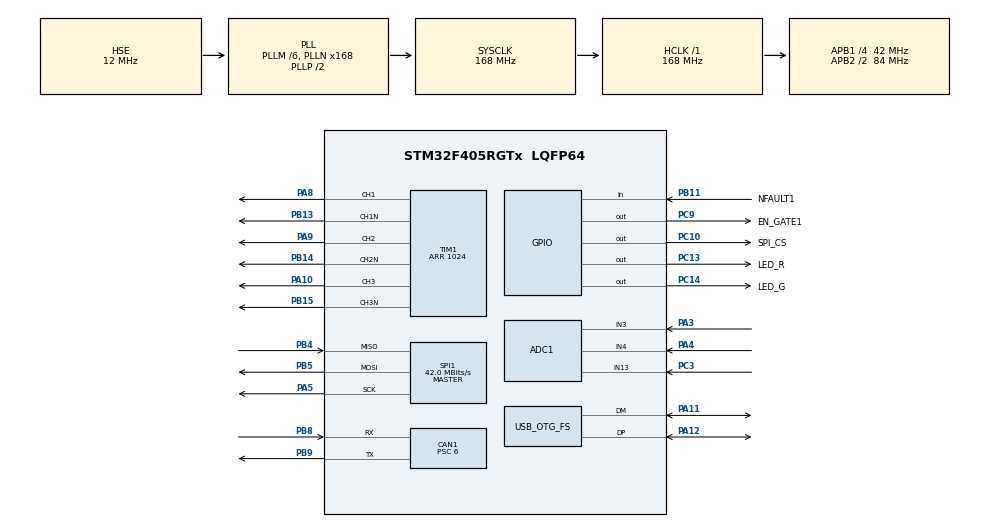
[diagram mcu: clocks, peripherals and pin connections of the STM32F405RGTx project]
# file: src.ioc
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ADC1.Channel-0\#ChannelRegularConversion=ADC_CHANNEL_13
ADC1.Channel-1\#ChannelInjectedConversion=ADC_CHANNEL_13
ADC1.Channel-2\#ChannelInjectedConversion=ADC_CHANNEL_3
ADC1.Channel-3\#ChannelInjectedConversion=ADC_CHANNEL_4
ADC1.ExternalTrigInjecConv=ADC_EXTERNALTRIGINJECCONV_T1_CC4
ADC1.ExternalTrigInjecConvEdge=ADC_EXTERNALTRIGINJECCONVEDGE_FALLING
ADC1.InjNumberOfConversion=3
ADC1.InjectedOffset-1\#ChannelInjectedConversion=0
ADC1.InjectedOffset-2\#ChannelInjectedConversion=0
ADC1.InjectedOffset-3\#ChannelInjectedConversion=0
ADC1.InjectedRank-1\#ChannelInjectedConversion=1
ADC1.InjectedRank-2\#ChannelInjectedConversion=2
ADC1.InjectedRank-3\#ChannelInjectedConversion=3
ADC1.NbrOfConversionFlag=1
ADC1.Rank-0\#ChannelRegularConversion=1
ADC1.SamplingTime-0\#ChannelRegularConversion=ADC_SAMPLETIME_3CYCLES
ADC1.SamplingTime-1\#ChannelInjectedConversion=ADC_SAMPLETIME_15CYCLES
ADC1.SamplingTime-2\#ChannelInjectedConversion=ADC_SAMPLETIME_15CYCLES
ADC1.SamplingTime-3\#ChannelInjectedConversion=ADC_SAMPLETIME_3CYCLES
ADC1.ScanConvMode=ENABLE
ADC1.master=1
CAN1.BS1=CAN_BS1_8TQ
CAN1.BS2=CAN_BS2_5TQ
CAN1.CalculateBaudRate=500000
CAN1.CalculateTimeBit=2000
CAN1.CalculateTimeQuantum=142.85714285714286
CAN1.NART=ENABLE
CAN1.Prescaler=6
CAN1.SJW=CAN_SJW_2TQ
Dma.Request0=SPI1_TX
Dma.Request1=SPI1_RX
Dma.SPI1_RX.1.Direction=DMA_PERIPH_TO_MEMORY
Dma.SPI1_RX.1.FIFOMode=DMA_FIFOMODE_DISABLE
Dma.SPI1_RX.1.Instance=DMA2_Stream0
Dma.SPI1_RX.1.MemDataAlignment=DMA_MDATAALIGN_BYTE
Dma.SPI1_RX.1.MemInc=DMA_MINC_ENABLE
Dma.SPI1_RX.1.Mode=DMA_NORMAL
Dma.SPI1_RX.1.PeriphDataAlignment=DMA_PDATAALIGN_BYTE
Dma.SPI1_RX.1.PeriphInc=DMA_PINC_DISABLE
Dma.SPI1_RX.1.Priority=DMA_PRIORITY_HIGH
Dma.SPI1_TX.0.Direction=DMA_MEMORY_TO_PERIPH
Dma.SPI1_TX.0.FIFOMode=DMA_FIFOMODE_DISABLE
Dma.SPI1_TX.0.Instance=DMA2_Stream3
Dma.SPI1_TX.0.MemDataAlignment=DMA_MDATAALIGN_BYTE
Dma.SPI1_TX.0.MemInc=DMA_MINC_ENABLE
Dma.SPI1_TX.0.Mode=DMA_NORMAL
Dma.SPI1_TX.0.PeriphDataAlignment=DMA_PDATAALIGN_BYTE
Dma.SPI1_TX.0.PeriphInc=DMA_PINC_DISABLE
Dma.SPI1_TX.0.Priority=DMA_PRIORITY_HIGH
Mcu.Family=STM32F4
Mcu.Name=STM32F405RGTx
Mcu.Package=LQFP64
NVIC.ADC_IRQn=true\:0\:0\:false\:false\:true\:true\:true\:true
NVIC.CAN1_RX0_IRQn=true\:0\:0\:false\:false\:true\:true\:true\:true
NVIC.CAN1_RX1_IRQn=true\:0\:0\:false\:false\:true\:true\:true\:true
NVIC.DMA2_Stream0_IRQn=true\:0\:0\:false\:false\:true\:false\:true\:true
NVIC.DMA2_Stream3_IRQn=true\:0\:0\:false\:false\:true\:false\:true\:true
NVIC.OTG_FS_IRQn=true\:0\:0\:false\:false\:true\:false\:true\:true
NVIC.PriorityGroup=NVIC_PRIORITYGROUP_4
NVIC.SPI1_IRQn=true\:0\:0\:false\:false\:true\:true\:true\:true
PA10.Signal=S_TIM1_CH3
PA11.Mode=Device_Only
PA11.Signal=USB_OTG_FS_DM
PA12.Mode=Device_Only
PA12.Signal=USB_OTG_FS_DP
PA13.Mode=Serial_Wire
PA13.Signal=SYS_JTMS-SWDIO
PA14.Mode=Serial_Wire
PA14.Signal=SYS_JTCK-SWCLK
PA3.Signal=ADCx_IN3
PA4.Signal=ADCx_IN4
PA5.Mode=Full_Duplex_Master
PA5.Signal=SPI1_SCK
PA8.Signal=S_TIM1_CH1
PA9.Signal=S_TIM1_CH2
PB11.GPIO_Label=NFAULT1
PB11.Signal=GPIO_Input
PB13.Mode=PWM Generation1 CH1 CH1N
PB13.Signal=TIM1_CH1N
PB14.Mode=PWM Generation2 CH2 CH2N
PB14.Signal=TIM1_CH2N
PB15.Mode=PWM Generation3 CH3 CH3N
PB15.Signal=TIM1_CH3N
PB4.Mode=Full_Duplex_Master
PB4.Signal=SPI1_MISO
PB5.Mode=Full_Duplex_Master
PB5.Signal=SPI1_MOSI
PB8.GPIO_PuPd=GPIO_PULLUP
PB8.Mode=CAN_Activate
PB8.Signal=CAN1_RX
PB9.Mode=CAN_Activate
PB9.Signal=CAN1_TX
PC10.GPIO_Label=SPI_CS
PC10.Signal=GPIO_Output
PC13-ANTI_TAMP.GPIO_Label=LED_R
PC13-ANTI_TAMP.Signal=GPIO_Output
PC14-OSC32_IN.GPIO_Label=LED_G
PC14-OSC32_IN.Signal=GPIO_Output
PC3.Signal=ADCx_IN13
PC9.GPIO_Label=EN_GATE1
PC9.Signal=GPIO_Output
PH0-OSC_IN.Mode=HSE-External-Oscillator
PH0-OSC_IN.Signal=RCC_OSC_IN
PH1-OSC_OUT.Mode=HSE-External-Oscillator
PH1-OSC_OUT.Signal=RCC_OSC_OUT
ProjectManager.HeapSize=0x200
ProjectManager.StackSize=0x400
ProjectManager.TargetToolchain=EWARM V8.50
RCC.48MHZClocksFreq_Value=48000000
RCC.AHBFreq_Value=168000000
RCC.APB1CLKDivider=RCC_HCLK_DIV4
RCC.APB1Freq_Value=42000000
RCC.APB1TimFreq_Value=84000000
RCC.APB2CLKDivider=RCC_HCLK_DIV2
RCC.APB2Freq_Value=84000000
RCC.APB2TimFreq_Value=168000000
RCC.CortexFreq_Value=168000000
RCC.HCLKFreq_Value=168000000
RCC.HSE_VALUE=12000000
RCC.HSI_VALUE=16000000
RCC.LSE_VALUE=32768
RCC.PLLM=6
RCC.PLLN=168
RCC.PLLQ=7
RCC.SYSCLKFreq_VALUE=168000000
RCC.SYSCLKSource=RCC_SYSCLKSOURCE_PLLCLK
RCC.VCOOutputFreq_Value=336000000
SH.ADCx_IN13.0=ADC1_IN13,IN13
SH.ADCx_IN3.0=ADC1_IN3,IN3
SH.ADCx_IN4.0=ADC1_IN4,IN4
SH.S_TIM1_CH1.0=TIM1_CH1,PWM Generation1 CH1 CH1N
SH.S_TIM1_CH2.0=TIM1_CH2,PWM Generation2 CH2 CH2N
SH.S_TIM1_CH3.0=TIM1_CH3,PWM Generation3 CH3 CH3N
SPI1.CLKPhase=SPI_PHASE_2EDGE
SPI1.CalculateBaudRate=42.0 MBits/s
SPI1.Direction=SPI_DIRECTION_2LINES
SPI1.Mode=SPI_MODE_MASTER
SPI1.VirtualType=VM_MASTER
TIM1.AutomaticOutput=TIM_AUTOMATICOUTPUT_ENABLE
TIM1.Channel-PWM\ Generation1\ CH1\ CH1N=TIM_CHANNEL_1
TIM1.Channel-PWM\ Generation2\ CH2\ CH2N=TIM_CHANNEL_2
TIM1.Channel-PWM\ Generation3\ CH3\ CH3N=TIM_CHANNEL_3
TIM1.Channel-PWM\ Generation4\ No\ Output=TIM_CHANNEL_4
TIM1.CounterMode=TIM_COUNTERMODE_CENTERALIGNED1
TIM1.DeadTime=25
TIM1.OCFastMode_PWM-PWM\ Generation1\ CH1\ CH1N=TIM_OCFAST_ENABLE
TIM1.OCFastMode_PWM-PWM\ Generation2\ CH2\ CH2N=TIM_OCFAST_ENABLE
TIM1.OCFastMode_PWM-PWM\ Generation3\ CH3\ CH3N=TIM_OCFAST_ENABLE
TIM1.OCFastMode_PWM-PWM\ Generation4\ No\ Output=TIM_OCFAST_ENABLE
TIM1.OffStateIDLEMode=TIM_OSSI_ENABLE
TIM1.OffStateRunMode=TIM_OSSR_ENABLE
TIM1.Period=1024
TIM1.TIM_MasterOutputTrigger=TIM_TRGO_UPDATE
USB_DEVICE.CLASS_NAME_FS=CDC
USB_DEVICE.VirtualMode-CDC_FS=Cdc
USB_DEVICE.VirtualModeFS=Cdc_FS
USB_OTG_FS.VirtualMode=Device_Only
VP_TIM1_VS_ClockSourceINT.Mode=Internal
VP_TIM1_VS_no_output4.Mode=PWM Generation4 No Output
VP_USB_DEVICE_VS_USB_DEVICE_CDC_FS.Mode=CDC_FS
board=custom

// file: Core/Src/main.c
/* USER CODE BEGIN Header */
/**
  ******************************************************************************
  * @file           : main.c
  * @brief          : Main program body
  ******************************************************************************
  * @attention
  *
  * Copyright (c) 2026 STMicroelectronics.
  * All rights reserved.
  *
  * This software is licensed under terms that can be found in the LICENSE file
  * in the root directory of this software component.
  * If no LICENSE file comes with this software, it is provided AS-IS.
  *
  ******************************************************************************
  */
/* USER CODE END Header */
#include "main.h"
#include "usb_device.h"

/* USER CODE BEGIN Includes */
#include "stm32f405_link.h"
#include "CAN.h"
#include "motor.h"
#include "AS5047P.h"
#include "FOC_utils.h"
#include "self_commissioning.h"
#include "storage.h"
#include "com.h"
#include "string.h"
/* USER CODE END Includes */

/* USER CODE BEGIN PD */

#define POLE_PAIR	(7)
#define ENCODER_OFFSET_RAD (DEG_TO_RAD(297.242249f))

#define usb_print(fmt, ...)                                                 \
  do {                                                                      \
    snprintf(usb_send_buff, sizeof(usb_send_buff), fmt, ##__VA_ARGS__);     \
    CDC_Transmit_FS((uint8_t *)(usb_send_buff), sizeof(usb_send_buff) - 1); \
  } while (0)

/* USER CODE END PD */

/* USER CODE BEGIN PM */
extern uint8_t CDC_Transmit_FS(uint8_t* Buf, uint16_t Len);
/* USER CODE END PM */

ADC_HandleTypeDef hadc1;

CAN_HandleTypeDef hcan1;

SPI_HandleTypeDef hspi1;
DMA_HandleTypeDef hdma_spi1_tx;
DMA_HandleTypeDef hdma_spi1_rx;

TIM_HandleTypeDef htim1;

/* USER CODE BEGIN PV */

AS5047P_t hencd1;
uint32_t adc_buff[4];
foc_t hfoc1;
self_commissioning_t hsc1;
storage_t hstorage1;
com_t husb_com;
com_t hcan_com;

char usb_send_buff[128];

/* USER CODE END PV */

void SystemClock_Config(void);
static void MX_GPIO_Init(void);
static void MX_DMA_Init(void);
static void MX_TIM1_Init(void);
static void MX_ADC1_Init(void);
static void MX_SPI1_Init(void);
static void MX_CAN1_Init(void);

/* USER CODE BEGIN 0 */

/**************************************************************************** */
// implementation

void motor1_inverter_enable(void) {
  EN_GATE1_GPIO_Port->BSRR = EN_GATE1_Pin;
  link_enable_pwm(&htim1);
  link_enable_adc(&hadc1);
}

void motor1_inverter_disable(void) {
  EN_GATE1_GPIO_Port->BSRR = EN_GATE1_Pin<<16;
  link_disable_pwm(&htim1);
  link_disable_adc(&hadc1);
}

uint32_t motor1_get_pwm_res(void) {
  return link_get_max_pwm(&htim1);
}

float motor1_as5047p_get_mech_deg(void) {
  return AS5047P_get_degree(&hencd1);
}

float motor1_as5047p_get_rpm(void) {
  return AS5047P_get_rpm(&hencd1, FOC_TS);
}

int motor1_as5047p_spi_transmit(uint8_t *tx, uint8_t *rx, uint16_t len) {
  if (HAL_SPI_TransmitReceive_DMA(&hspi1, tx, rx, len) == HAL_OK) return 0;
  return -1;
}

void motor1_as5047p_spi_cs(_Bool cs_state) {
  if (cs_state) SPI_CS_GPIO_Port->BSRR = SPI_CS_Pin;
  else SPI_CS_GPIO_Port->BSRR = SPI_CS_Pin<<16;
}

#define FLASH_SECTOR_ADDR  ((uint32_t)0x080E0000)
#define FLASH_SECTOR_NUM   FLASH_SECTOR_11

int write_flash(void *data, uint32_t len) {
  HAL_StatusTypeDef status;
  FLASH_EraseInitTypeDef EraseInitStruct;
  uint32_t SectorError = 0;

  HAL_FLASH_Unlock();

  EraseInitStruct.TypeErase    = FLASH_TYPEERASE_SECTORS;
  EraseInitStruct.VoltageRange = FLASH_VOLTAGE_RANGE_3;
  EraseInitStruct.Sector       = FLASH_SECTOR_NUM;
  EraseInitStruct.NbSectors    = 1;

  status = HAL_FLASHEx_Erase(&EraseInitStruct, &SectorError);
  if (status != HAL_OK) {
    HAL_FLASH_Lock();
    return -1;
  }

  uint32_t address = FLASH_SECTOR_ADDR;
  uint8_t *src = (uint8_t *)data;

  for (uint32_t i = 0; i < len; i += 4) {
    uint32_t word = *(uint32_t*)(src + i);
    status = HAL_FLASH_Program(FLASH_TYPEPROGRAM_WORD, address, word);
    if (status != HAL_OK) {
      HAL_FLASH_Lock();
      return -1;
    }
    address += 4;
  }

  HAL_FLASH_Lock();
  return 0;
}

int read_flash(void *data, uint32_t len) {
  memcpy(data, (void*)FLASH_SECTOR_ADDR, len);
  return 0;
}

int usb_recv_data(uint8_t *data, uint16_t len) {
  (void)data;
  (void)len;
  return 0;
}

int usb_send_data(uint8_t *data, uint16_t len) {
  if (CDC_Transmit_FS(data, len) != USBD_OK) return -1;
  return 0;
}

int can_recv_data(uint8_t *data, uint16_t len) {
  (void)data;
  (void)len;
  return 0;
}

int can_send_data(uint8_t *data, uint16_t len) {
#if USB_TO_CAN
  CAN_Send(&hcan1, 0x05, data, len);
#else
  CAN_Send(&hcan1, TRANSMITTER_ID, data, len);
#endif
  return 0;
}

/**************************************************************************** */

static void init_motor(void) {
  motor_init_pwm(&hfoc1.motor, &TIM1->CCR1, &TIM1->CCR2, &TIM1->CCR3);
  motor_init_adc_current_sense(&hfoc1.motor, &adc_buff[0], &adc_buff[1], &adc_buff[2]);
  motor_set_current_sense_gain(&hfoc1.motor, (3.3f / 4095.0f) / (0.01f * 20.0f));
}

static void init_encoder(void) {
  AS5047P_spi_config(&hencd1, motor1_as5047p_spi_transmit, motor1_as5047p_spi_cs);
  AS5047P_init(&hencd1, SENSOR_DIR_REVERSE, (360.0f / 16383.0f));
  AS5047P_set_angle_filter_fc(&hencd1, 1000.0f, FOC_TS);
  AS5047P_set_rpm_filter_fc(&hencd1, 50.0f, FOC_TS);
}

static void init_foc(void) {
  CAN_init(&hcan1);
#if USB_TO_CAN
  com_init(&husb_com, usb_recv_data, usb_send_data, HAL_GetTick, &hfoc1, &hstorage1, &hsc1);
  com_init(&hcan_com, can_recv_data, can_send_data, HAL_GetTick, &hfoc1, &hstorage1, &hsc1);
#else
  init_trig_lut();
  link_set_pwm_freq(&htim1, BLDC_PWM_FREQ);
  init_motor();
  init_encoder();
  sc_init(&hsc1, &hfoc1);

  storage_init(&hstorage1, write_flash, read_flash);
  foc_inverter_init(&hfoc1, motor1_inverter_enable, motor1_inverter_disable, motor1_get_pwm_res);
  foc_feedback_sensor_init(&hfoc1, motor1_as5047p_get_mech_deg, motor1_as5047p_get_rpm);
  com_init(&husb_com, usb_recv_data, usb_send_data, HAL_GetTick, &hfoc1, &hstorage1, &hsc1);
  com_init(&hcan_com, can_recv_data, can_send_data, HAL_GetTick, &hfoc1, &hstorage1, &hsc1);

  storage_read_config(&hstorage1);
  storage_copy_to_local(&hstorage1, &hfoc1);

  // Id PI parameter
  pid_reset(&hfoc1.id_ctrl);
  pid_set_ts(&hfoc1.id_ctrl, FOC_TS);
  // Id PI parameter
  pid_reset(&hfoc1.iq_ctrl);
  pid_set_ts(&hfoc1.iq_ctrl, FOC_TS);
  // Speed PID parameter
  pid_reset(&hfoc1.speed_ctrl);
  pid_set_ts(&hfoc1.speed_ctrl, SPEED_TS);
  pid_set_kd(&hfoc1.speed_ctrl, 0);
  pid_set_d_filter_fc(&hfoc1.speed_ctrl, 100.0f);
  pid_set_max_d(&hfoc1.speed_ctrl, 10.0f);
  // Position PID parameter
  pid_reset(&hfoc1.pos_ctrl);
  pid_set_ts(&hfoc1.pos_ctrl, POSITION_TS);
  pid_set_d_filter_fc(&hfoc1.pos_ctrl, 20.0f);
  pid_set_max_d(&hfoc1.pos_ctrl, 100.0f);
  // field weakening
  pid_reset(&hfoc1.fw_ctrl);
  pid_set_ts(&hfoc1.fw_ctrl, FOC_TS);

  foc_motor_init(&hfoc1, POLE_PAIR, 360.0f);

  // foc_set_mode(&hfoc1, FOC_MODE_SENSORLESS_SMO_HFI_NEW);
  foc_sensorless_init(&hfoc1, BLDC_PWM_FREQ);

  foc_sensor_init(&hfoc1, ENCODER_OFFSET_RAD, NORMAL_DIR);
  foc_gear_reducer_init(&hfoc1, 1.0f);
  foc_set_limit_current(&hfoc1, 10.0f);

  hfoc1.v_bus = 12.0f;

  foc_enable(&hfoc1);
#endif
}

static void indicator_update(void) {
  static uint32_t heartbeat_tick = 0;
  if (HAL_GetTick() - heartbeat_tick >= 500) {
    heartbeat_tick = HAL_GetTick();
    HAL_GPIO_TogglePin(LED_G_GPIO_Port, LED_G_Pin);
  }
  if (HAL_GPIO_ReadPin(NFAULT1_GPIO_Port, NFAULT1_Pin)) {
    LED_R_GPIO_Port->BSRR = LED_R_Pin<<16;
  }
  else {
    LED_R_GPIO_Port->BSRR = LED_R_Pin;
  }
}

static void self_commissioning_update(void) {
  if (sc_is_measure_done(&hsc1)) {
    switch(sc_get_seq(&hsc1)) {
      case SC_SEQUENCE_START_MEASURE_RS:
        foc_set_motor_Rs(&hfoc1, sc_get_Rs(&hsc1));
        break;
      case SC_SEQUENCE_START_MEASURE_LD:
        foc_set_motor_Ld(&hfoc1, sc_get_Ld(&hsc1));
        break;
      case SC_SEQUENCE_START_MEASURE_LQ:
        foc_set_motor_Lq(&hfoc1, sc_get_Lq(&hsc1));
        break;
    }
  }
}

void usb_to_can_update(void) {
  if (husb_com.incomming_data_flag) {
    husb_com.incomming_data_flag = 0;
    hcan_com.send_data(husb_com.data_rx, husb_com.data_rx_len);
  }
  if (hcan_com.incomming_data_flag) {
    hcan_com.incomming_data_flag = 0;
    husb_com.send_data(hcan_com.data_rx, hcan_com.data_rx_len);
  }
}

/**************************************************************************** */

void HAL_SPI_TxRxCpltCallback(SPI_HandleTypeDef *hspi) {
	if (hspi->Instance == SPI1) {
    AS5047P_set_spi_transfer_done(&hencd1);
	}
}

void HAL_ADCEx_InjectedConvCpltCallback(ADC_HandleTypeDef* hadc) {
	if (hadc->Instance == ADC1) {
    adc_buff[0] = ADC1->JDR1;
    adc_buff[1] = ADC1->JDR2;
    adc_buff[2] = ADC1->JDR3;
    sc_update(&hsc1, FOC_TS);
    foc_update(&hfoc1, FOC_TS);
  }
}

// CAN RX FIFO 0 Callback
void HAL_CAN_RxFifo0MsgPendingCallback(CAN_HandleTypeDef *hcan){
  CAN_RxHeaderTypeDef RxHeader;
  uint8_t RxData[32];
  if (HAL_CAN_GetRxMessage(hcan, CAN_RX_FIFO0, &RxHeader, RxData) == HAL_OK) {
    hcan_com.data_rx = RxData;
    hcan_com.data_rx_len = RxHeader.DLC;
    hcan_com.incomming_data_flag = 1;
    // usb_print("(%ld) %d %d %d %d\r\n", hcan_com.data_rx_len, RxData[0], RxData[1], RxData[2], RxData[3]);
  }
}

/**************************************************************************** */

/* USER CODE END 0 */

int main(void)
{

  /* MCU Configuration--------------------------------------------------------*/

  /* Reset of all peripherals, Initializes the Flash interface and the Systick. */
  HAL_Init();

  /* Configure the system clock */
  SystemClock_Config();

  /* Initialize all configured peripherals */
  MX_GPIO_Init();
  MX_DMA_Init();
  MX_USB_DEVICE_Init();
  MX_TIM1_Init();
  MX_ADC1_Init();
  MX_SPI1_Init();
  MX_CAN1_Init();
  /* USER CODE BEGIN 2 */

#if (__FPU_PRESENT == 1) && (__FPU_USED == 1)
  printf("FPU aktif!\n");
#else
  printf("FPU tidak aktif!\n");
#endif

  init_foc();

  /* USER CODE END 2 */

  /* Infinite loop */
  /* USER CODE BEGIN WHILE */
  while (1)
  {
    indicator_update();
#if USB_TO_CAN
    usb_to_can_update();
#else
    AS5047P_update(&hencd1);
    com_update(&husb_com);
    com_update(&hcan_com);
    self_commissioning_update();
#endif
    /* USER CODE END WHILE */

  }
}

void SystemClock_Config(void)
{
  RCC_OscInitTypeDef RCC_OscInitStruct = {0};
  RCC_ClkInitTypeDef RCC_ClkInitStruct = {0};

  /** Configure the main internal regulator output voltage
  */
  __HAL_RCC_PWR_CLK_ENABLE();
  __HAL_PWR_VOLTAGESCALING_CONFIG(PWR_REGULATOR_VOLTAGE_SCALE1);

  /** Initializes the RCC Oscillators according to the specified parameters
  * in the RCC_OscInitTypeDef structure.
  */
  RCC_OscInitStruct.OscillatorType = RCC_OSCILLATORTYPE_HSE;
  RCC_OscInitStruct.HSEState = RCC_HSE_ON;
  RCC_OscInitStruct.PLL.PLLState = RCC_PLL_ON;
  RCC_OscInitStruct.PLL.PLLSource = RCC_PLLSOURCE_HSE;
  RCC_OscInitStruct.PLL.PLLM = 6;
  RCC_OscInitStruct.PLL.PLLN = 168;
  RCC_OscInitStruct.PLL.PLLP = RCC_PLLP_DIV2;
  RCC_OscInitStruct.PLL.PLLQ = 7;
  if (HAL_RCC_OscConfig(&RCC_OscInitStruct) != HAL_OK)
  {
    Error_Handler();
  }

  /** Initializes the CPU, AHB and APB buses clocks
  */
  RCC_ClkInitStruct.ClockType = RCC_CLOCKTYPE_HCLK|RCC_CLOCKTYPE_SYSCLK
                              |RCC_CLOCKTYPE_PCLK1|RCC_CLOCKTYPE_PCLK2;
  RCC_ClkInitStruct.SYSCLKSource = RCC_SYSCLKSOURCE_PLLCLK;
  RCC_ClkInitStruct.AHBCLKDivider = RCC_SYSCLK_DIV1;
  RCC_ClkInitStruct.APB1CLKDivider = RCC_HCLK_DIV4;
  RCC_ClkInitStruct.APB2CLKDivider = RCC_HCLK_DIV2;

  if (HAL_RCC_ClockConfig(&RCC_ClkInitStruct, FLASH_LATENCY_5) != HAL_OK)
  {
    Error_Handler();
  }
}

static void MX_ADC1_Init(void)
{

  ADC_ChannelConfTypeDef sConfig = {0};
  ADC_InjectionConfTypeDef sConfigInjected = {0};

  /** Configure the global features of the ADC (Clock, Resolution, Data Alignment and number of conversion)
  */
  hadc1.Instance = ADC1;
  hadc1.Init.ClockPrescaler = ADC_CLOCK_SYNC_PCLK_DIV4;
  hadc1.Init.Resolution = ADC_RESOLUTION_12B;
  hadc1.Init.ScanConvMode = ENABLE;
  hadc1.Init.ContinuousConvMode = DISABLE;
  hadc1.Init.DiscontinuousConvMode = DISABLE;
  hadc1.Init.ExternalTrigConvEdge = ADC_EXTERNALTRIGCONVEDGE_NONE;
  hadc1.Init.ExternalTrigConv = ADC_SOFTWARE_START;
  hadc1.Init.DataAlign = ADC_DATAALIGN_RIGHT;
  hadc1.Init.NbrOfConversion = 1;
  hadc1.Init.DMAContinuousRequests = DISABLE;
  hadc1.Init.EOCSelection = ADC_EOC_SINGLE_CONV;
  if (HAL_ADC_Init(&hadc1) != HAL_OK)
  {
    Error_Handler();
  }

  /** Configure for the selected ADC regular channel its corresponding rank in the sequencer and its sample time.
  */
  sConfig.Channel = ADC_CHANNEL_13;
  sConfig.Rank = 1;
  sConfig.SamplingTime = ADC_SAMPLETIME_3CYCLES;
  if (HAL_ADC_ConfigChannel(&hadc1, &sConfig) != HAL_OK)
  {
    Error_Handler();
  }

  /** Configures for the selected ADC injected channel its corresponding rank in the sequencer and its sample time
  */
  sConfigInjected.InjectedChannel = ADC_CHANNEL_13;
  sConfigInjected.InjectedRank = 1;
  sConfigInjected.InjectedNbrOfConversion = 3;
  sConfigInjected.InjectedSamplingTime = ADC_SAMPLETIME_15CYCLES;
  sConfigInjected.ExternalTrigInjecConvEdge = ADC_EXTERNALTRIGINJECCONVEDGE_FALLING;
  sConfigInjected.ExternalTrigInjecConv = ADC_EXTERNALTRIGINJECCONV_T1_CC4;
  sConfigInjected.AutoInjectedConv = DISABLE;
  sConfigInjected.InjectedDiscontinuousConvMode = DISABLE;
  sConfigInjected.InjectedOffset = 0;
  if (HAL_ADCEx_InjectedConfigChannel(&hadc1, &sConfigInjected) != HAL_OK)
  {
    Error_Handler();
  }

  /** Configures for the selected ADC injected channel its corresponding rank in the sequencer and its sample time
  */
  sConfigInjected.InjectedChannel = ADC_CHANNEL_3;
  sConfigInjected.InjectedRank = 2;
  if (HAL_ADCEx_InjectedConfigChannel(&hadc1, &sConfigInjected) != HAL_OK)
  {
    Error_Handler();
  }

  /** Configures for the selected ADC injected channel its corresponding rank in the sequencer and its sample time
  */
  sConfigInjected.InjectedChannel = ADC_CHANNEL_4;
  sConfigInjected.InjectedRank = 3;
  sConfigInjected.InjectedSamplingTime = ADC_SAMPLETIME_3CYCLES;
  if (HAL_ADCEx_InjectedConfigChannel(&hadc1, &sConfigInjected) != HAL_OK)
  {
    Error_Handler();
  }

}

static void MX_CAN1_Init(void)
{

  hcan1.Instance = CAN1;
  hcan1.Init.Prescaler = 6;
  hcan1.Init.Mode = CAN_MODE_NORMAL;
  hcan1.Init.SyncJumpWidth = CAN_SJW_2TQ;
  hcan1.Init.TimeSeg1 = CAN_BS1_8TQ;
  hcan1.Init.TimeSeg2 = CAN_BS2_5TQ;
  hcan1.Init.TimeTriggeredMode = DISABLE;
  hcan1.Init.AutoBusOff = DISABLE;
  hcan1.Init.AutoWakeUp = DISABLE;
  hcan1.Init.AutoRetransmission = ENABLE;
  hcan1.Init.ReceiveFifoLocked = DISABLE;
  hcan1.Init.TransmitFifoPriority = DISABLE;
  if (HAL_CAN_Init(&hcan1) != HAL_OK)
  {
    Error_Handler();
  }

}

static void MX_SPI1_Init(void)
{

  /* SPI1 parameter configuration*/
  hspi1.Instance = SPI1;
  hspi1.Init.Mode = SPI_MODE_MASTER;
  hspi1.Init.Direction = SPI_DIRECTION_2LINES;
  hspi1.Init.DataSize = SPI_DATASIZE_8BIT;
  hspi1.Init.CLKPolarity = SPI_POLARITY_LOW;
  hspi1.Init.CLKPhase = SPI_PHASE_2EDGE;
  hspi1.Init.NSS = SPI_NSS_SOFT;
  hspi1.Init.BaudRatePrescaler = SPI_BAUDRATEPRESCALER_2;
  hspi1.Init.FirstBit = SPI_FIRSTBIT_MSB;
  hspi1.Init.TIMode = SPI_TIMODE_DISABLE;
  hspi1.Init.CRCCalculation = SPI_CRCCALCULATION_DISABLE;
  hspi1.Init.CRCPolynomial = 10;
  if (HAL_SPI_Init(&hspi1) != HAL_OK)
  {
    Error_Handler();
  }

}

static void MX_TIM1_Init(void)
{

  TIM_ClockConfigTypeDef sClockSourceConfig = {0};
  TIM_MasterConfigTypeDef sMasterConfig = {0};
  TIM_OC_InitTypeDef sConfigOC = {0};
  TIM_BreakDeadTimeConfigTypeDef sBreakDeadTimeConfig = {0};

  htim1.Instance = TIM1;
  htim1.Init.Prescaler = 0;
  htim1.Init.CounterMode = TIM_COUNTERMODE_CENTERALIGNED1;
  htim1.Init.Period = 1024;
  htim1.Init.ClockDivision = TIM_CLOCKDIVISION_DIV1;
  htim1.Init.RepetitionCounter = 0;
  htim1.Init.AutoReloadPreload = TIM_AUTORELOAD_PRELOAD_DISABLE;
  if (HAL_TIM_Base_Init(&htim1) != HAL_OK)
  {
    Error_Handler();
  }
  sClockSourceConfig.ClockSource = TIM_CLOCKSOURCE_INTERNAL;
  if (HAL_TIM_ConfigClockSource(&htim1, &sClockSourceConfig) != HAL_OK)
  {
    Error_Handler();
  }
  if (HAL_TIM_PWM_Init(&htim1) != HAL_OK)
  {
    Error_Handler();
  }
  sMasterConfig.MasterOutputTrigger = TIM_TRGO_UPDATE;
  sMasterConfig.MasterSlaveMode = TIM_MASTERSLAVEMODE_DISABLE;
  if (HAL_TIMEx_MasterConfigSynchronization(&htim1, &sMasterConfig) != HAL_OK)
  {
    Error_Handler();
  }
  sConfigOC.OCMode = TIM_OCMODE_PWM1;
  sConfigOC.Pulse = 0;
  sConfigOC.OCPolarity = TIM_OCPOLARITY_HIGH;
  sConfigOC.OCNPolarity = TIM_OCNPOLARITY_HIGH;
  sConfigOC.OCFastMode = TIM_OCFAST_ENABLE;
  sConfigOC.OCIdleState = TIM_OCIDLESTATE_RESET;
  sConfigOC.OCNIdleState = TIM_OCNIDLESTATE_RESET;
  if (HAL_TIM_PWM_ConfigChannel(&htim1, &sConfigOC, TIM_CHANNEL_1) != HAL_OK)
  {
    Error_Handler();
  }
  if (HAL_TIM_PWM_ConfigChannel(&htim1, &sConfigOC, TIM_CHANNEL_2) != HAL_OK)
  {
    Error_Handler();
  }
  if (HAL_TIM_PWM_ConfigChannel(&htim1, &sConfigOC, TIM_CHANNEL_3) != HAL_OK)
  {
    Error_Handler();
  }
  if (HAL_TIM_PWM_ConfigChannel(&htim1, &sConfigOC, TIM_CHANNEL_4) != HAL_OK)
  {
    Error_Handler();
  }
  sBreakDeadTimeConfig.OffStateRunMode = TIM_OSSR_ENABLE;
  sBreakDeadTimeConfig.OffStateIDLEMode = TIM_OSSI_ENABLE;
  sBreakDeadTimeConfig.LockLevel = TIM_LOCKLEVEL_OFF;
  sBreakDeadTimeConfig.DeadTime = 25;
  sBreakDeadTimeConfig.BreakState = TIM_BREAK_DISABLE;
  sBreakDeadTimeConfig.BreakPolarity = TIM_BREAKPOLARITY_HIGH;
  sBreakDeadTimeConfig.AutomaticOutput = TIM_AUTOMATICOUTPUT_ENABLE;
  if (HAL_TIMEx_ConfigBreakDeadTime(&htim1, &sBreakDeadTimeConfig) != HAL_OK)
  {
    Error_Handler();
  }
  HAL_TIM_MspPostInit(&htim1);

}

static void MX_DMA_Init(void)
{

  /* DMA controller clock enable */
  __HAL_RCC_DMA2_CLK_ENABLE();

  /* DMA interrupt init */
  /* DMA2_Stream0_IRQn interrupt configuration */
  HAL_NVIC_SetPriority(DMA2_Stream0_IRQn, 0, 0);
  HAL_NVIC_EnableIRQ(DMA2_Stream0_IRQn);
  /* DMA2_Stream3_IRQn interrupt configuration */
  HAL_NVIC_SetPriority(DMA2_Stream3_IRQn, 0, 0);
  HAL_NVIC_EnableIRQ(DMA2_Stream3_IRQn);

}

static void MX_GPIO_Init(void)
{
  GPIO_InitTypeDef GPIO_InitStruct = {0};

  /* GPIO Ports Clock Enable */
  __HAL_RCC_GPIOC_CLK_ENABLE();
  __HAL_RCC_GPIOH_CLK_ENABLE();
  __HAL_RCC_GPIOA_CLK_ENABLE();
  __HAL_RCC_GPIOB_CLK_ENABLE();

  /*Configure GPIO pin Output Level */
  HAL_GPIO_WritePin(GPIOC, LED_R_Pin|LED_G_Pin|EN_GATE1_Pin|SPI_CS_Pin, GPIO_PIN_RESET);

  /*Configure GPIO pins : LED_R_Pin LED_G_Pin EN_GATE1_Pin SPI_CS_Pin */
  GPIO_InitStruct.Pin = LED_R_Pin|LED_G_Pin|EN_GATE1_Pin|SPI_CS_Pin;
  GPIO_InitStruct.Mode = GPIO_MODE_OUTPUT_PP;
  GPIO_InitStruct.Pull = GPIO_NOPULL;
  GPIO_InitStruct.Speed = GPIO_SPEED_FREQ_LOW;
  HAL_GPIO_Init(GPIOC, &GPIO_InitStruct);

  /*Configure GPIO pin : NFAULT1_Pin */
  GPIO_InitStruct.Pin = NFAULT1_Pin;
  GPIO_InitStruct.Mode = GPIO_MODE_INPUT;
  GPIO_InitStruct.Pull = GPIO_NOPULL;
  HAL_GPIO_Init(NFAULT1_GPIO_Port, &GPIO_InitStruct);

}

void Error_Handler(void)
{
  __disable_irq();
  while (1)
  {
  }
}
